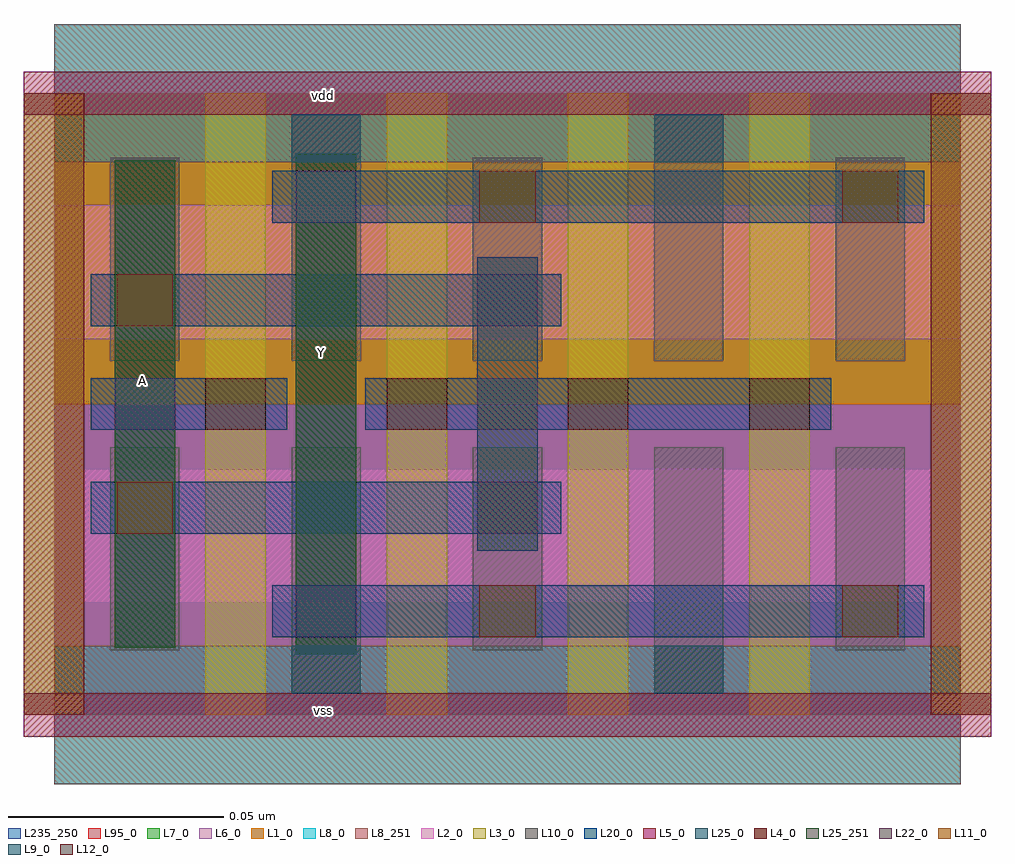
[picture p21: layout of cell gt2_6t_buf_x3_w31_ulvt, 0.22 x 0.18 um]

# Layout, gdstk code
import gdstk
lib = gdstk.Library(unit=1e-6, precision=1e-10)
def R(c, l, rs):  # rectangles x0, y0, x1, y1
    for r in rs: c.add(gdstk.rectangle(r[:2], r[2:], *l))
def A(c, l, x, y, w, h, nx, ny, dx, dy):  # array of equal rectangles
    R(c, l, [(x+i*dx, y+j*dy, x+i*dx+w, y+j*dy+h) for i in range(nx) for j in range(ny)])
L1_0 = (1, 0)
L2_0 = (2, 0)
L3_0 = (3, 0)
L4_0 = (4, 0)
L5_0 = (5, 0)
L6_0 = (6, 0)
L7_0 = (7, 0)
L8_0 = (8, 0)
L8_251 = (8, 251)
L9_0 = (9, 0)
L10_0 = (10, 0)
L11_0 = (11, 0)
L12_0 = (12, 0)
L20_0 = (20, 0)
L22_0 = (22, 0)
L25_0 = (25, 0)
L25_251 = (25, 251)
L95_0 = (95, 0)
L235_250 = (235, 250)

gt2_6t_buf_x3_w31_ulvt = lib.new_cell('gt2_6t_buf_x3_w31_ulvt')
R(gt2_6t_buf_x3_w31_ulvt, L1_0, [(0,0.072,0.21,0.144)])
R(gt2_6t_buf_x3_w31_ulvt, L2_0, [(0,0.026,0.21,0.057), (0,0.087,0.21,0.118)])
A(gt2_6t_buf_x3_w31_ulvt, L3_0, -0.007, 0, 0.014, 0.144, 6, 1, 0.042, 0)
R(gt2_6t_buf_x3_w31_ulvt, L4_0, [(-0.007,0,0.007,0.144), (0.203,0,0.217,0.144)])
R(gt2_6t_buf_x3_w31_ulvt, L5_0, [(-0.007,-0.005,0.217,0.005), (-0.007,0.139,0.217,0.149)])
R(gt2_6t_buf_x3_w31_ulvt, L6_0, [(0,0,0.21,0.072)])
R(gt2_6t_buf_x3_w31_ulvt, L7_0, [(0,0.072,0.21,0.144)])
R(gt2_6t_buf_x3_w31_ulvt, L8_0, [(0,-0.016,0.21,0.016), (0,0.128,0.21,0.16)])
R(gt2_6t_buf_x3_w31_ulvt, L8_251, [(0,-0.016,0.21,0.016), (0,0.128,0.21,0.16)])
R(gt2_6t_buf_x3_w31_ulvt, L9_0, [(0.055,0.005,0.071,0.016), (0.139,0.005,0.155,0.016), (0.055,0.128,0.071,0.139), (0.139,0.128,0.155,0.139)])
A(gt2_6t_buf_x3_w31_ulvt, L10_0, 0.013, 0.015, 0.016, 0.047, 3, 2, 0.084, 0.067)
R(gt2_6t_buf_x3_w31_ulvt, L10_0, [(0.055,0.005,0.071,0.062), (0.139,0.005,0.155,0.062), (0.055,0.082,0.071,0.139), (0.139,0.082,0.155,0.139)])
R(gt2_6t_buf_x3_w31_ulvt, L11_0, [(0.0985,0.018,0.1115,0.03), (0.1825,0.018,0.1955,0.03), (0.0145,0.042,0.0275,0.054), (0.0145,0.09,0.0275,0.102), (0.0985,0.114,0.1115,0.126), (0.1825,0.114,0.1955,0.126)])
A(gt2_6t_buf_x3_w31_ulvt, L12_0, 0.035, 0.066, 0.014, 0.012, 4, 1, 0.042, 0)
R(gt2_6t_buf_x3_w31_ulvt, L20_0, [(0.0505,0.018,0.2015,0.03), (0.0085,0.042,0.1175,0.054), (0.0085,0.066,0.054,0.078), (0.072,0.066,0.18,0.078), (0.0085,0.09,0.1175,0.102), (0.0505,0.114,0.2015,0.126)])
A(gt2_6t_buf_x3_w31_ulvt, L22_0, 0.098, 0.042, 0.014, 0.012, 1, 3, 0, 0.024)
R(gt2_6t_buf_x3_w31_ulvt, L22_0, [(0.056,0.018,0.07,0.03), (0.014,0.066,0.028,0.078), (0.056,0.114,0.07,0.126)])
R(gt2_6t_buf_x3_w31_ulvt, L25_0, [(0.056,0.014,0.07,0.13), (0.014,0.0155,0.028,0.1285), (0.098,0.038,0.112,0.106)])
R(gt2_6t_buf_x3_w31_ulvt, L25_251, [(0.056,0.014,0.07,0.13), (0.014,0.0155,0.028,0.1285)])
R(gt2_6t_buf_x3_w31_ulvt, L95_0, [(0,0,0.21,0.144)])
R(gt2_6t_buf_x3_w31_ulvt, L235_250, [(0,0,0.21,0.144)])
gt2_6t_buf_x3_w31_ulvt.add(gdstk.Label('vdd', (0.0625,0.1435), layer=8, texttype=251))
gt2_6t_buf_x3_w31_ulvt.add(gdstk.Label('vss', (0.0625,0.001), layer=8, texttype=251))
gt2_6t_buf_x3_w31_ulvt.add(gdstk.Label('Y', (0.062,0.084), layer=25, texttype=251))
gt2_6t_buf_x3_w31_ulvt.add(gdstk.Label('A', (0.0205,0.0775), layer=25, texttype=251))

lib.write_gds('gt2_6t_buf_x3_w31_ulvt.gds')
